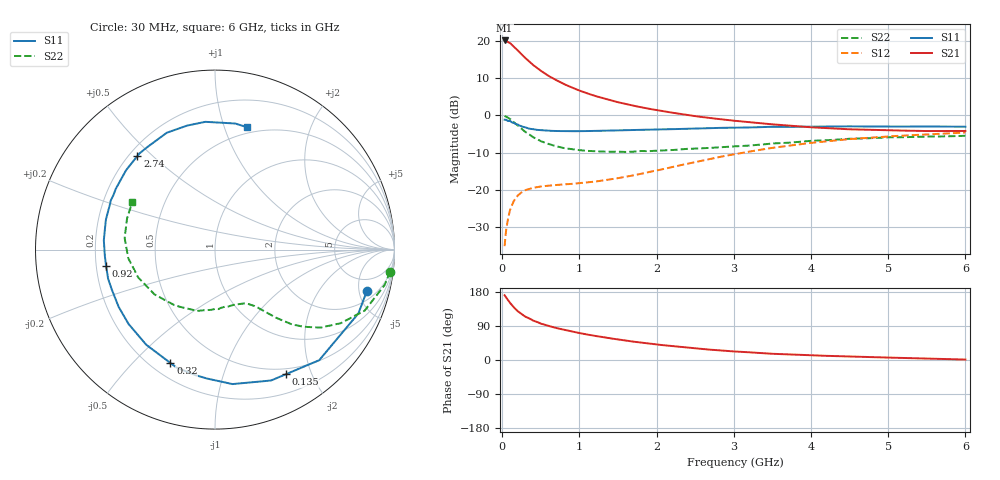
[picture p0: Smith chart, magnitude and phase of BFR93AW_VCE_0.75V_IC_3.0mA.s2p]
! Infineon Technologies  Discrete & RF Semiconductors
! BFR93AW
! VCE = 0.75 V,  IC =  3.0 mA
! Common Emitter S-Parameters:  Nov 2015
# GHz  S  MA  R  50
!  f  S11  S21  S12  S22
! GHz  MAG  ANG  MAG  ANG  MAG  ANG  MAG  ANG
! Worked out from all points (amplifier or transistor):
!   206 points, 30 MHz to 6 GHz, reference 50 ohm
!   highest |S21| = 20.2 dB at 30 MHz (marker M1)
!   |S21| within 3 dB of that: start of sweep to 215.3 MHz
!   unconditionally stable (mu >= 1): 1.055 GHz to 2.739 GHz; 5.317 GHz to end of sweep
!   at 200 MHz: K = 0.22, MSG = 19.5 dB, |S12| = -21.6 dB
!   at 1.56 GHz: K = 1.17, MAG = 7.5 dB, |S12| = -16.7 dB
!   at 6 GHz: K = 1.01, MAG = -0.5 dB, |S12| = -4.6 dB
!   S11 on the Smith chart (normalised r, x): 30 MHz: 2.96, -5.96; 135 MHz: 0.43, -1.63; 320 MHz: 0.28, -0.65; 920 MHz: 0.24, -0.07; 2.74 GHz: 0.23, +0.45; 6 GHz: 0.44, +1.20
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0.03  0.8768 -15.4  10.22 170.8  0.0174 79.3  0.9838 -7.2
0.05  0.8745 -24.0  10.09 164.5  0.0286 76.3  0.9654 -11.8
0.1  0.8466 -46.7  9.446 150.6  0.0533 66.0  0.9004 -22.2
0.135  0.7987 -60.5  8.703 142.4  0.0654 58.6  0.8368 -27.7
0.15  0.7934 -66.8  8.447 138.4  0.0708 56.3  0.8122 -30.3
0.2  0.7556 -82.6  7.517 128.8  0.0835 49.5  0.7321 -36.4
0.26  0.708 -98.8  6.488 119.5  0.0937 43.2  0.6459 -41.5
0.3  0.6913 -108.1  5.914 114.2  0.0988 40.4  0.6001 -44.1
0.32  0.6788 -111.5  5.673 112.5  0.1002 39.4  0.5819 -44.8
0.4  0.654 -125.9  4.773 104.0  0.1062 35.7  0.5102 -48.1
0.5  0.6353 -139.3  3.99 96.0  0.1106 33.2  0.4501 -50.8
0.6  0.6246 -149.2  3.403 89.8  0.1134 32.5  0.4121 -52.8
0.7  0.6174 -157.5  2.982 84.3  0.116 32.6  0.3848 -54.9
0.92  0.6137 -171.4  2.332 74.4  0.1205 35.1  0.3494 -59.6
1.04  0.6148 -177.6  2.088 69.6  0.124 36.9  0.3379 -63.0
1.5  0.6305 164.5  1.505 54.2  0.1432 46.0  0.3255 -76.7
2.02  0.6486 148.0  1.17 40.4  0.1833 53.7  0.3367 -94.1
2.74  0.6777 129.6  0.911 26.5  0.2669 55.4  0.3683 -118.3
3.1  0.6863 121.2  0.831 21.5  0.3125 53.2  0.3876 -129.9
4.1  0.7081 100.9  0.684 11.6  0.4374 42.0  0.4592 -163.2
5.1  0.708 85.9  0.627 5.9  0.5289 28.6  0.5082 170.2
6  0.7048 75.4  0.618 1.1  0.5877 17.8  0.5321 149.9
